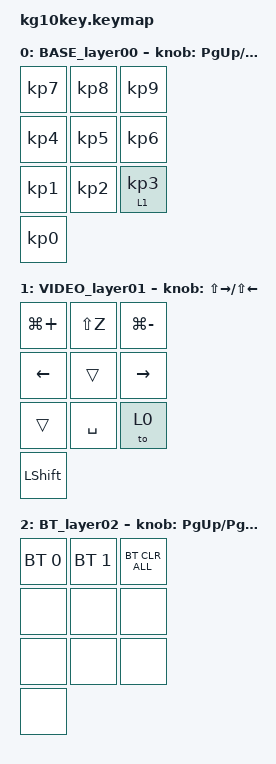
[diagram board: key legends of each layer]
#include <behaviors.dtsi>
#include <dt-bindings/zmk/bt.h>
#include <dt-bindings/zmk/keys.h>

/ {
    behaviors {
        // 0.5秒（500ms）長押しでレイヤー1に完全移行（TO 1）、短押しで数字の3を入力
        td_layer: tap_dance_mod {
            compatible = "zmk,behavior-hold-tap";
            label = "LAYER_HOLD_TAP";
            #binding-cells = <2>;
            tapping-term-ms = <500>;
            quick-tap-ms = <0>;
            flavor = "tap-preferred";
            bindings = <&to>, <&kp>;
        };
    };

    combos {
        compatible = "zmk,combos";

        L0 {
            bindings = <&to 0>;
            key-positions = <1 2>;
            timeout-ms = <80>;
            require-prior-idle-ms = <150>;
        };

        L1 {
            bindings = <&to 1>;
            key-positions = <1 0>;
            timeout-ms = <80>;
            require-prior-idle-ms = <150>;
        };

        L2 {
            bindings = <&to 2>;
            key-positions = <0 3>;
            timeout-ms = <80>;
            require-prior-idle-ms = <150>;
        };

        del {
            bindings = <&kp BACKSPACE>;
            key-positions = <8 7>;
            timeout-ms = <80>;
            require-prior-idle-ms = <150>;
        };
    };

    keymap {
        compatible = "zmk,keymap";

        BASE_layer00 {
            bindings = <
&kp KP_N7  &kp KP_N8  &kp KP_N9
&kp KP_N4  &kp KP_N5  &kp KP_N6
&kp KP_N1  &kp KP_N2  &td_layer 1 KP_NUMBER_3
&kp KP_N0
            >;

            // レイヤー0：右回しで上スクロール(PG_UP)、左回しで下スクロール(PG_DN)
            sensor-bindings = <&inc_dec_kp PG_UP PG_DN>;
        };

        VIDEO_layer01 {
            bindings = <
&kp LG(PLUS)  &kp LS(Z)  &kp LG(MINUS)
&kp LEFT      &trans     &kp RIGHT
&trans        &kp SPACE  &to 0
&kp LSHFT
            >;

            // レイヤー1：右回しで Shift + 右、左回しで Shift + 左
            sensor-bindings = <&inc_dec_kp LS(RIGHT) LS(LEFT)>;
        };

        BT_layer02 {
            bindings = <
&bt BT_SEL 0  &bt BT_SEL 1  &bt BT_CLR_ALL
&none         &none         &none
&none         &none         &none
&none
            >;
            
            // BTレイヤーでもスクロール動作を維持
            sensor-bindings = <&inc_dec_kp PG_UP PG_DN>;
        };
    };
};
